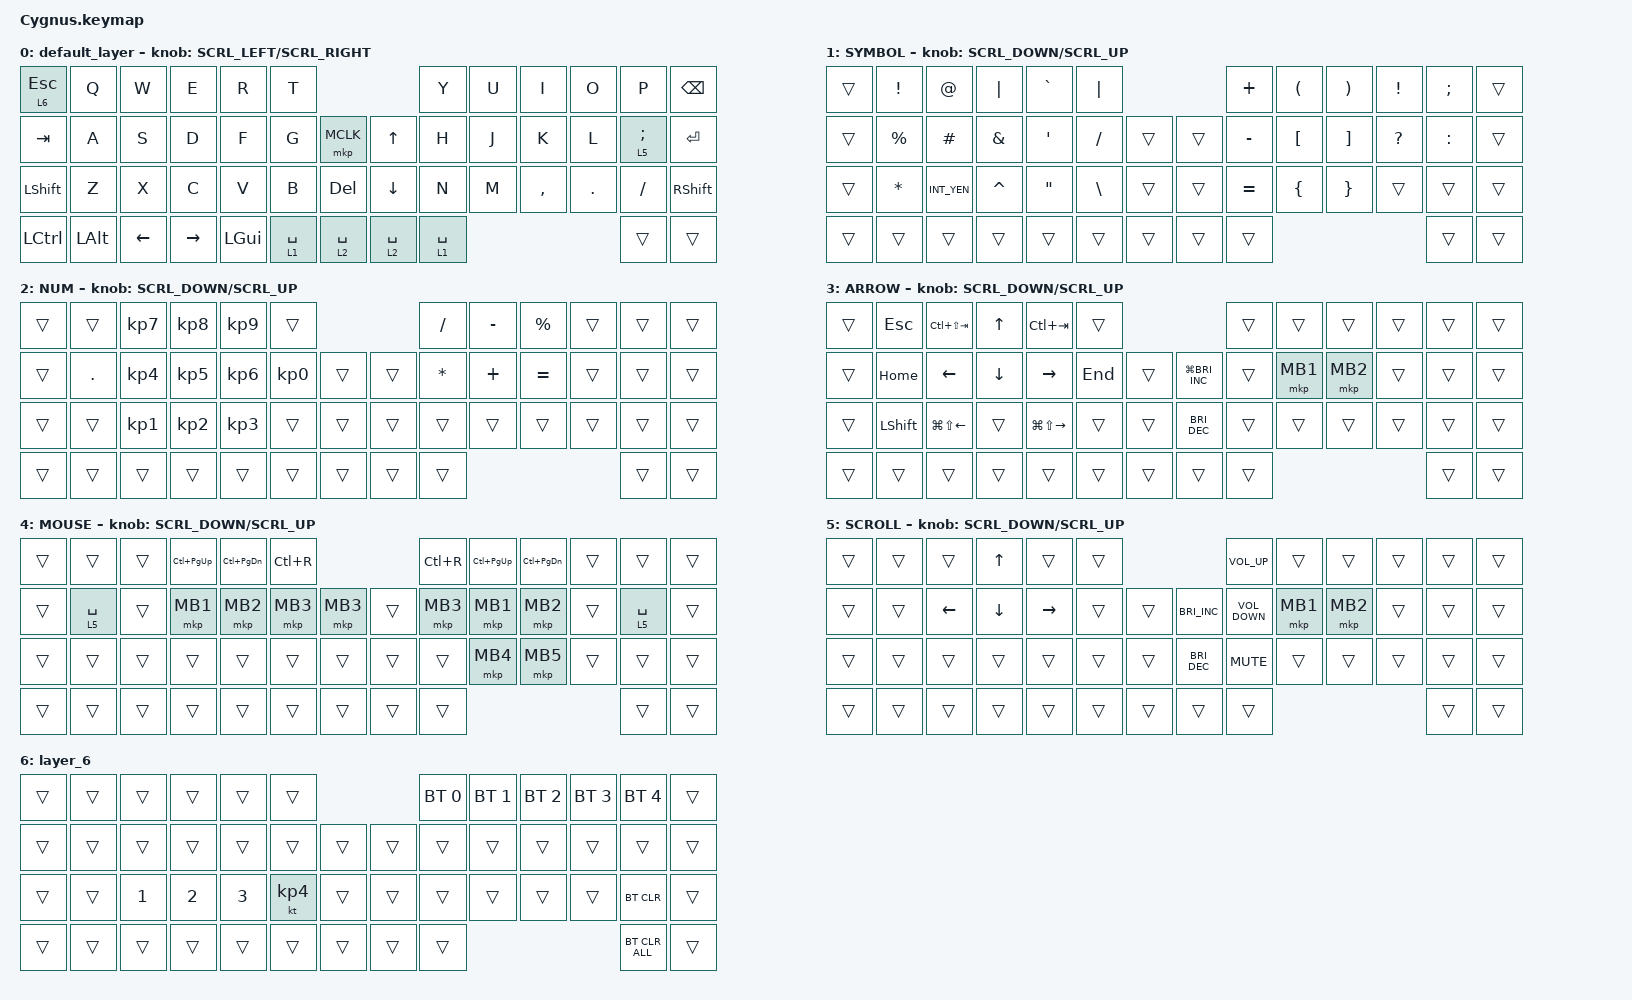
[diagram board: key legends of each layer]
#define ZMK_POINTING_DEFAULT_SCRL_VAL 120    // default: 10

#include <behaviors.dtsi>
#include <dt-bindings/zmk/bt.h>
#include <dt-bindings/zmk/keys.h>
#include <dt-bindings/zmk/pointing.h>

#define MOUSE 4
#define SCROLL 5
#define NUM 6

&mt {
    flavor = "balanced";
    quick-tap-ms = <0>;
};

&lt {
    // "hold-preferred": the hold (layer switch) engages the instant ANY other key
    // is pressed while the thumb key is held -- it does not wait for that key to
    // be released (as "balanced" does) nor for the tapping term (as the default
    // "tap-preferred" does). This is the most reliable flavor for a thumb layer
    // key that leaks SPACE.
    flavor = "hold-preferred";
    quick-tap-ms = <0>;
};

/ {
    combos {
        compatible = "zmk,combos";

        mouse_left {
            bindings = <&mkp MB1>;
            key-positions = <21 22>;
        };

        mouse_right {
            bindings = <&mkp MB2>;
            key-positions = <22 23>;
        };

        single_quote {
            bindings = <&kp SINGLE_QUOTE>;
            key-positions = <16 15>;
        };

        double_quote {
            bindings = <&kp DOUBLE_QUOTES>;
            key-positions = <15 14>;
        };
    };

    macros {
        to_layer_0: to_layer_0 {
            compatible = "zmk,behavior-macro-one-param";
            #binding-cells = <1>;
            bindings = <&to 0 &macro_param_1to1 &kp MACRO_PLACEHOLDER>;
            label = "TO_LAYER_0";
        };
    };

    behaviors {
        lt_to_layer_0: lt_to_layer_0 {
            compatible = "zmk,behavior-hold-tap";
            label = "LAYER_TAP_TO_0";
            bindings = <&mo>, <&to_layer_0>;

            #binding-cells = <2>;
            tapping-term-ms = <200>;
        };

        ROTATE: ROTATE {
            compatible = "zmk,behavior-sensor-rotate-var";
            label = "ROTATE";
            #sensor-binding-cells = <2>;
            bindings = <&msc>, <&msc>;

            tap-ms = <20>;
        };
    };

    keymap {
        compatible = "zmk,keymap";

        default_layer {
            bindings = <
&lt 6 ESC  &kp Q         &kp W           &kp E            &kp R     &kp T                                       &kp Y        &kp U  &kp I      &kp O    &kp P            &kp BSPC
&kp TAB    &kp A         &kp S           &kp D            &kp F     &kp G        &mkp MCLK      &kp UP_ARROW    &kp H        &kp J  &kp K      &kp L    &lt 5 SEMICOLON  &kp ENTER
&kp LSHFT  &kp Z         &kp X           &kp C            &kp V     &kp B        &kp DELETE     &kp DOWN_ARROW  &kp N        &kp M  &kp COMMA  &kp DOT  &kp FSLH         &kp RSHFT
&kp LCTRL  &kp LEFT_ALT  &kp LEFT_ARROW  &kp RIGHT_ARROW  &kp LGUI  &lt 1 SPACE  &lt 2 SPACE    &lt 2 SPACE     &lt 1 SPACE                             &trans           &trans
            >;

            sensor-bindings = <&ROTATE SCRL_LEFT SCRL_RIGHT>;
        };

        SYMBOL {
            bindings = <
&trans  &kp EXCLAMATION  &kp AT       &kp PIPE       &kp GRAVE          &kp PIPE                         &kp PLUS   &kp LEFT_PARENTHESIS  &kp RIGHT_PARENTHESIS  &kp EXCLAMATION  &kp SEMICOLON  &trans
&trans  &kp PERCENT      &kp HASH     &kp AMPERSAND  &kp SINGLE_QUOTE   &kp SLASH      &trans    &trans  &kp MINUS  &kp LEFT_BRACKET      &kp RIGHT_BRACKET      &kp QUESTION     &kp COLON      &trans
&trans  &kp ASTRK        &kp INT_YEN  &kp CARET      &kp DOUBLE_QUOTES  &kp BACKSLASH  &trans    &trans  &kp EQUAL  &kp LEFT_BRACE        &kp RIGHT_BRACE        &trans           &trans         &trans
&trans  &trans           &trans       &trans         &trans             &trans         &trans    &trans  &trans                                                                   &trans         &trans
            >;

            sensor-bindings = <&ROTATE SCRL_DOWN SCRL_UP>;
        };

        NUM {
            bindings = <
&trans  &trans      &kp KP_NUMBER_7  &kp KP_NUMBER_8  &kp KP_NUMBER_9  &trans                             &kp SLASH     &kp MINUS  &kp PERCENT  &trans  &trans  &trans
&trans  &kp PERIOD  &kp KP_NUMBER_4  &kp KP_NUMBER_5  &kp KP_NUMBER_6  &kp KP_NUMBER_0  &trans    &trans  &kp ASTERISK  &kp PLUS   &kp EQUAL    &trans  &trans  &trans
&trans  &trans      &kp KP_NUMBER_1  &kp KP_NUMBER_2  &kp KP_NUMBER_3  &trans           &trans    &trans  &trans        &trans     &trans       &trans  &trans  &trans
&trans  &trans      &trans           &trans           &trans           &trans           &trans    &trans  &trans                                        &trans  &trans
            >;

            sensor-bindings = <&ROTATE SCRL_DOWN SCRL_UP>;
        };

        ARROW {
            bindings = <
&trans  &kp ESCAPE      &kp LC(LS(TAB))         &kp UP_ARROW    &kp LC(TAB)              &trans                                       &trans  &trans    &trans    &trans  &trans  &trans
&trans  &kp HOME        &kp LEFT_ARROW          &kp DOWN_ARROW  &kp RIGHT_ARROW          &kp END  &trans    &kp LG(C_BRIGHTNESS_INC)  &trans  &mkp MB1  &mkp MB2  &trans  &trans  &trans
&trans  &kp LEFT_SHIFT  &kp LG(LS(LEFT_ARROW))  &trans          &kp LG(LS(RIGHT_ARROW))  &trans   &trans    &kp C_BRIGHTNESS_DEC      &trans  &trans    &trans    &trans  &trans  &trans
&trans  &trans          &trans                  &trans          &trans                   &trans   &trans    &trans                    &trans                              &trans  &trans
            >;

            sensor-bindings = <&ROTATE SCRL_DOWN SCRL_UP>;
        };

        MOUSE {
            bindings = <
&trans  &trans       &trans  &kp LC(PAGE_UP)  &kp LC(PAGE_DOWN)  &kp LC(R)                      &kp LC(R)  &kp LC(PAGE_UP)  &kp LC(PAGE_DOWN)  &trans  &trans       &trans
&trans  &lt 5 SPACE  &trans  &mkp MB1         &mkp MB2           &mkp MB3   &mkp MB3    &trans  &mkp MB3   &mkp MB1         &mkp MB2           &trans  &lt 5 SPACE  &trans
&trans  &trans       &trans  &trans           &trans             &trans     &trans      &trans  &trans     &mkp MB4         &mkp MB5           &trans  &trans       &trans
&trans  &trans       &trans  &trans           &trans             &trans     &trans      &trans  &trans                                                 &trans       &trans
            >;

            sensor-bindings = <&ROTATE SCRL_DOWN SCRL_UP>;
        };

        SCROLL {
            bindings = <
&trans  &trans  &trans          &kp UP_ARROW    &trans           &trans                                  &kp C_VOLUME_UP    &trans    &trans    &trans  &trans  &trans
&trans  &trans  &kp LEFT_ARROW  &kp DOWN_ARROW  &kp RIGHT_ARROW  &trans  &trans    &kp C_BRIGHTNESS_INC  &kp C_VOLUME_DOWN  &mkp MB1  &mkp MB2  &trans  &trans  &trans
&trans  &trans  &trans          &trans          &trans           &trans  &trans    &kp C_BRIGHTNESS_DEC  &kp K_MUTE         &trans    &trans    &trans  &trans  &trans
&trans  &trans  &trans          &trans          &trans           &trans  &trans    &trans                &trans                                         &trans  &trans
            >;

            sensor-bindings = <&ROTATE SCRL_DOWN SCRL_UP>;
        };

        layer_6 {
            bindings = <
&trans  &trans  &trans        &trans        &trans        &trans                       &bt BT_SEL 0  &bt BT_SEL 1  &bt BT_SEL 2  &bt BT_SEL 3  &bt BT_SEL 4    &trans
&trans  &trans  &trans        &trans        &trans        &trans     &trans    &trans  &trans        &trans        &trans        &trans        &trans          &trans
&trans  &trans  &kp NUMBER_1  &kp NUMBER_2  &kp NUMBER_3  &kt KP_N4  &trans    &trans  &trans        &trans        &trans        &trans        &bt BT_CLR      &trans
&trans  &trans  &trans        &trans        &trans        &trans     &trans    &trans  &trans                                                  &bt BT_CLR_ALL  &trans
            >;
        };
    };
};
